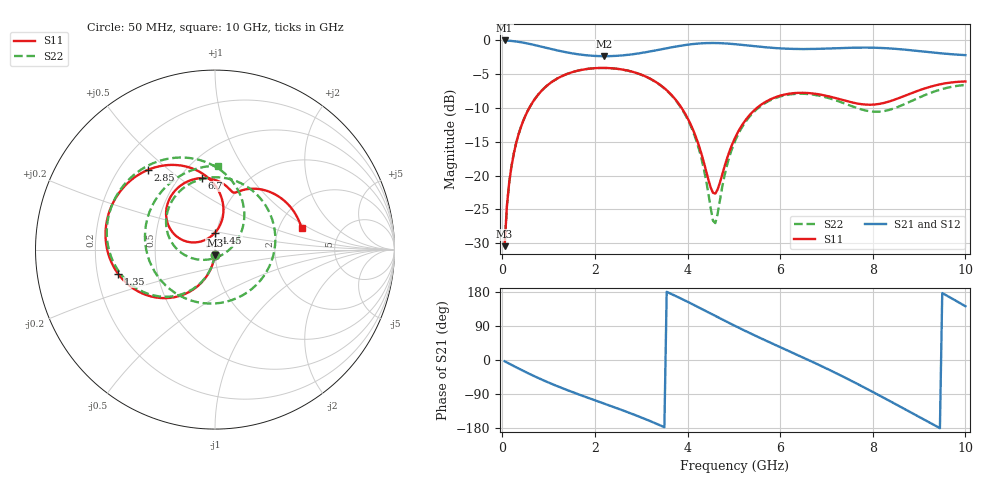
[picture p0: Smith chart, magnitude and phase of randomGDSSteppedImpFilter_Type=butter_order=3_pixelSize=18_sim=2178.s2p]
! freq	dB(S11)	phase(S11)	dB(S12)	phase(S12)
!  dB(S21)	phase(S21)	dB(S22)	phase(S22)
!S-par simulation data
#  GHz  S  DB  R 50
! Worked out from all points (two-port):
!   200 points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, 50 MHz to 10 GHz, reference 50 ohm
!   highest |S21| = -0.01 dB at 50 MHz (marker M1); lowest = -2.3 dB at 2.2 GHz (marker M2)
!   |S21| within 3 dB of the highest: start of sweep to end of sweep
!   lowest |S11| = -30.5 dB at 50 MHz (marker M3), VSWR 1.06, Z = 49.7 - j2.98 ohm
!   |S11| at or under -10 dB: start of sweep to 582.6 MHz; 3.872 GHz to 5.498 GHz (1.626 GHz wide, 34.7 % of centre)
!   |S22| runs from -30.5 to -4.1 dB; largest |S21 - S12| = 0
!   S11 on the Smith chart (normalised r, x): 50 MHz: 0.99, -0.06; 1.35 GHz: 0.29, -0.11; 2.85 GHz: 0.32, +0.42; 4.45 GHz: 0.98, +0.18; 6.7 GHz: 0.64, +0.61; 10 GHz: 2.68, +0.84
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0.05  -30.45 -93.3  -0.01 -3.3  -0.01 -3.3  -30.45 -93.4
0.15  -20.99 -100.0  -0.05 -9.7  -0.05 -9.7  -20.99 -100.3
0.4  -12.86 -115.5  -0.27 -25.4  -0.27 -25.4  -12.86 -116.4
0.85  -7.44 -141.1  -0.93 -51.6  -0.93 -51.6  -7.44 -142.9
1.35  -5.10 -165.9  -1.72 -77.0  -1.72 -77.0  -5.10 -168.9
1.75  -4.31 176.3  -2.15 -95.3  -2.15 -95.3  -4.31 172.2
2.2  -4.07 157.5  -2.34 -115.1  -2.34 -115.1  -4.08 151.7
2.85  -4.72 130.2  -2.02 -144.4  -2.02 -144.4  -4.73 120.9
3.4  -6.54 105.9  -1.36 -171.9  -1.36 -171.9  -6.57 91.3
4.05  -12.18 79.2  -0.59 150.7  -0.59 150.7  -12.38 47.3
4.45  -20.60 90.3  -0.39 125.7  -0.39 125.7  -22.66 -4.7
4.6  -22.66 126.3  -0.39 116.3  -0.39 116.3  -27.04 -77.1
5.05  -14.08 163.2  -0.57 88.5  -0.57 88.5  -14.51 -174.4
5.9  -8.40 131.7  -1.13 39.5  -1.13 39.5  -8.53 124.5
6.7  -7.85 100.2  -1.27 -5.1  -1.27 -5.1  -8.02 69.1
7.5  -9.09 77.8  -1.09 -52.5  -1.09 -52.5  -9.62 -1.3
7.95  -9.52 71.9  -1.07 -81.0  -1.07 -81.0  -10.50 -52.9
8.35  -9.05 67.3  -1.18 -107.1  -1.18 -107.1  -10.30 -102.8
8.8  -7.90 57.5  -1.44 -136.8  -1.44 -136.8  -9.07 -154.7
9.2  -6.94 44.4  -1.72 -163.2  -1.72 -163.2  -7.89 164.7
9.6  -6.32 29.1  -1.99 169.9  -1.99 169.9  -7.02 126.7
10  -6.07 13.7  -2.18 141.8  -2.18 141.8  -6.59 88.0
